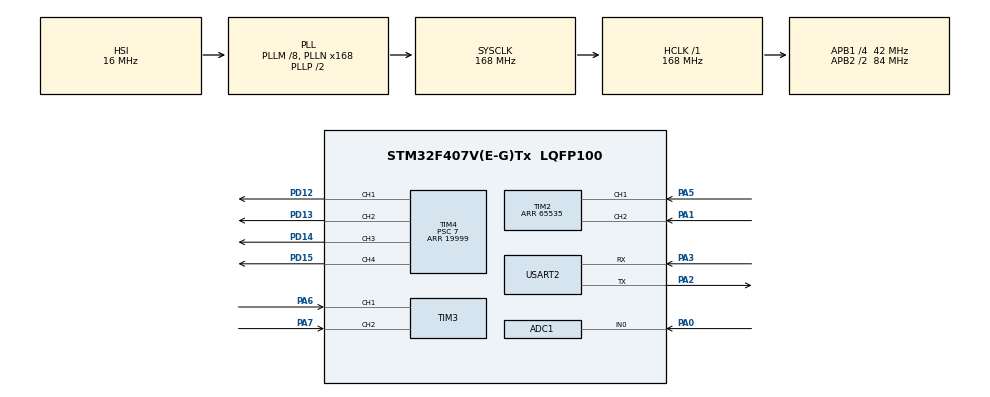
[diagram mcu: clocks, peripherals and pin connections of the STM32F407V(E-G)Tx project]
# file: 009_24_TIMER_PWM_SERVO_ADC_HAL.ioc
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ADC1.Channel-0\#ChannelRegularConversion=ADC_CHANNEL_0
ADC1.ContinuousConvMode=ENABLE
ADC1.DMAContinuousRequests=DISABLE
ADC1.NbrOfConversionFlag=1
ADC1.Rank-0\#ChannelRegularConversion=1
ADC1.SamplingTime-0\#ChannelRegularConversion=ADC_SAMPLETIME_3CYCLES
ADC1.master=1
Mcu.Family=STM32F4
Mcu.Name=STM32F407V(E-G)Tx
Mcu.Package=LQFP100
NVIC.PriorityGroup=NVIC_PRIORITYGROUP_4
PA0-WKUP.Signal=ADCx_IN0
PA1.Signal=S_TIM2_CH2
PA2.Mode=Asynchronous
PA2.Signal=USART2_TX
PA3.Mode=Asynchronous
PA3.Signal=USART2_RX
PA5.Signal=S_TIM2_CH1_ETR
PA6.Signal=S_TIM3_CH1
PA7.Signal=S_TIM3_CH2
PD12.Signal=S_TIM4_CH1
PD13.Signal=S_TIM4_CH2
PD14.Signal=S_TIM4_CH3
PD15.Signal=S_TIM4_CH4
ProjectManager.HeapSize=0x200
ProjectManager.StackSize=0x400
ProjectManager.TargetToolchain=TrueSTUDIO
RCC.48MHZClocksFreq_Value=84000000
RCC.AHBFreq_Value=168000000
RCC.APB1CLKDivider=RCC_HCLK_DIV4
RCC.APB1Freq_Value=42000000
RCC.APB1TimFreq_Value=84000000
RCC.APB2CLKDivider=RCC_HCLK_DIV2
RCC.APB2Freq_Value=84000000
RCC.APB2TimFreq_Value=168000000
RCC.CortexFreq_Value=168000000
RCC.HCLKFreq_Value=168000000
RCC.HSE_VALUE=25000000
RCC.HSI_VALUE=16000000
RCC.LSE_VALUE=32768
RCC.PLLM=8
RCC.PLLN=168
RCC.SYSCLKFreq_VALUE=168000000
RCC.SYSCLKSource=RCC_SYSCLKSOURCE_PLLCLK
RCC.VCOOutputFreq_Value=336000000
SH.ADCx_IN0.0=ADC1_IN0,IN0
SH.S_TIM2_CH1_ETR.0=TIM2_CH1,Encoder_Interface
SH.S_TIM2_CH2.0=TIM2_CH2,Encoder_Interface
SH.S_TIM3_CH1.0=TIM3_CH1,Encoder_Interface
SH.S_TIM3_CH2.0=TIM3_CH2,Encoder_Interface
SH.S_TIM4_CH1.0=TIM4_CH1,PWM Generation1 CH1
SH.S_TIM4_CH2.0=TIM4_CH2,PWM Generation2 CH2
SH.S_TIM4_CH3.0=TIM4_CH3,PWM Generation3 CH3
SH.S_TIM4_CH4.0=TIM4_CH4,PWM Generation4 CH4
TIM2.EncoderMode=TIM_ENCODERMODE_TI12
TIM2.Period=65535
TIM3.EncoderMode=TIM_ENCODERMODE_TI12
TIM4.Channel-PWM\ Generation1\ CH1=TIM_CHANNEL_1
TIM4.Channel-PWM\ Generation2\ CH2=TIM_CHANNEL_2
TIM4.Channel-PWM\ Generation3\ CH3=TIM_CHANNEL_3
TIM4.Channel-PWM\ Generation4\ CH4=TIM_CHANNEL_4
TIM4.Period=19999
TIM4.Prescaler=7
USART2.VirtualMode=VM_ASYNC
board=custom

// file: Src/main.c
/* USER CODE BEGIN Header */
/**
  ******************************************************************************
  * @file           : main.c
  * @brief          : Main program body
  ******************************************************************************
  * @attention
  *
  * Copyright (c) 2022 STMicroelectronics.
  * All rights reserved.
  *
  * This software is licensed under terms that can be found in the LICENSE file
  * in the root directory of this software component.
  * If no LICENSE file comes with this software, it is provided AS-IS.
  *
  ******************************************************************************
  */
/* USER CODE END Header */
#include "main.h"

ADC_HandleTypeDef hadc1;

TIM_HandleTypeDef htim2;
TIM_HandleTypeDef htim3;
TIM_HandleTypeDef htim4;

UART_HandleTypeDef huart2;

void SystemClock_Config(void);
static void MX_GPIO_Init(void);
static void MX_ADC1_Init(void);
static void MX_TIM4_Init(void);
static void MX_TIM2_Init(void);
static void MX_TIM3_Init(void);
static void MX_USART2_UART_Init(void);

/* USER CODE BEGIN 0 */

uint16_t adcValue;
uint32_t pulse;

uint32_t map(long A,long B,long C,long D,long E){

	return ((A*E)/C);
}

void READ_Adc(){

	HAL_ADC_Start(&hadc1);

	if(HAL_ADC_PollForConversion(&hadc1,100000)== HAL_OK){
		adcValue= HAL_ADC_GetValue(&hadc1);

	}
	HAL_ADC_Stop(&hadc1);
}

/* USER CODE END 0 */

int main(void)
{

  /* MCU Configuration--------------------------------------------------------*/

  /* Reset of all peripherals, Initializes the Flash interface and the Systick. */
  HAL_Init();

  /* Configure the system clock */
  SystemClock_Config();

  /* Initialize all configured peripherals */
  MX_GPIO_Init();
  MX_ADC1_Init();
  MX_TIM4_Init();
  MX_TIM2_Init();
  MX_TIM3_Init();
  MX_USART2_UART_Init();
  /* USER CODE BEGIN 2 */

  HAL_TIM_PWM_Start(&htim4, TIM_CHANNEL_1);
  HAL_TIM_PWM_Start(&htim4, TIM_CHANNEL_2);
  HAL_TIM_PWM_Start(&htim4, TIM_CHANNEL_3);
  HAL_TIM_PWM_Start(&htim4, TIM_CHANNEL_4);

  /* USER CODE END 2 */

  /* Infinite loop */
  while (1)
  {

    /* USER CODE BEGIN 3 */
	  READ_Adc();
	  pulse=map(adcValue,0,4095,0,19999);
	  __HAL_TIM_SetCompare(&htim4,TIM_CHANNEL_1,pulse);
	  __HAL_TIM_SetCompare(&htim4,TIM_CHANNEL_2,pulse);
	  __HAL_TIM_SetCompare(&htim4,TIM_CHANNEL_3,pulse);
	  __HAL_TIM_SetCompare(&htim4,TIM_CHANNEL_4,pulse);

  }
  /* USER CODE END 3 */
}

void SystemClock_Config(void)
{
  RCC_OscInitTypeDef RCC_OscInitStruct = {0};
  RCC_ClkInitTypeDef RCC_ClkInitStruct = {0};

  /** Configure the main internal regulator output voltage
  */
  __HAL_RCC_PWR_CLK_ENABLE();
  __HAL_PWR_VOLTAGESCALING_CONFIG(PWR_REGULATOR_VOLTAGE_SCALE1);
  /** Initializes the RCC Oscillators according to the specified parameters
  * in the RCC_OscInitTypeDef structure.
  */
  RCC_OscInitStruct.OscillatorType = RCC_OSCILLATORTYPE_HSI;
  RCC_OscInitStruct.HSIState = RCC_HSI_ON;
  RCC_OscInitStruct.HSICalibrationValue = RCC_HSICALIBRATION_DEFAULT;
  RCC_OscInitStruct.PLL.PLLState = RCC_PLL_ON;
  RCC_OscInitStruct.PLL.PLLSource = RCC_PLLSOURCE_HSI;
  RCC_OscInitStruct.PLL.PLLM = 8;
  RCC_OscInitStruct.PLL.PLLN = 168;
  RCC_OscInitStruct.PLL.PLLP = RCC_PLLP_DIV2;
  RCC_OscInitStruct.PLL.PLLQ = 4;
  if (HAL_RCC_OscConfig(&RCC_OscInitStruct) != HAL_OK)
  {
    Error_Handler();
  }
  /** Initializes the CPU, AHB and APB buses clocks
  */
  RCC_ClkInitStruct.ClockType = RCC_CLOCKTYPE_HCLK|RCC_CLOCKTYPE_SYSCLK
                              |RCC_CLOCKTYPE_PCLK1|RCC_CLOCKTYPE_PCLK2;
  RCC_ClkInitStruct.SYSCLKSource = RCC_SYSCLKSOURCE_PLLCLK;
  RCC_ClkInitStruct.AHBCLKDivider = RCC_SYSCLK_DIV1;
  RCC_ClkInitStruct.APB1CLKDivider = RCC_HCLK_DIV4;
  RCC_ClkInitStruct.APB2CLKDivider = RCC_HCLK_DIV2;

  if (HAL_RCC_ClockConfig(&RCC_ClkInitStruct, FLASH_LATENCY_5) != HAL_OK)
  {
    Error_Handler();
  }
}

static void MX_ADC1_Init(void)
{

  ADC_ChannelConfTypeDef sConfig = {0};

  /** Configure the global features of the ADC (Clock, Resolution, Data Alignment and number of conversion)
  */
  hadc1.Instance = ADC1;
  hadc1.Init.ClockPrescaler = ADC_CLOCK_SYNC_PCLK_DIV4;
  hadc1.Init.Resolution = ADC_RESOLUTION_12B;
  hadc1.Init.ScanConvMode = DISABLE;
  hadc1.Init.ContinuousConvMode = ENABLE;
  hadc1.Init.DiscontinuousConvMode = DISABLE;
  hadc1.Init.ExternalTrigConvEdge = ADC_EXTERNALTRIGCONVEDGE_NONE;
  hadc1.Init.ExternalTrigConv = ADC_SOFTWARE_START;
  hadc1.Init.DataAlign = ADC_DATAALIGN_RIGHT;
  hadc1.Init.NbrOfConversion = 1;
  hadc1.Init.DMAContinuousRequests = DISABLE;
  hadc1.Init.EOCSelection = ADC_EOC_SINGLE_CONV;
  if (HAL_ADC_Init(&hadc1) != HAL_OK)
  {
    Error_Handler();
  }
  /** Configure for the selected ADC regular channel its corresponding rank in the sequencer and its sample time.
  */
  sConfig.Channel = ADC_CHANNEL_0;
  sConfig.Rank = 1;
  sConfig.SamplingTime = ADC_SAMPLETIME_3CYCLES;
  if (HAL_ADC_ConfigChannel(&hadc1, &sConfig) != HAL_OK)
  {
    Error_Handler();
  }

}

static void MX_TIM2_Init(void)
{

  TIM_Encoder_InitTypeDef sConfig = {0};
  TIM_MasterConfigTypeDef sMasterConfig = {0};

  htim2.Instance = TIM2;
  htim2.Init.Prescaler = 0;
  htim2.Init.CounterMode = TIM_COUNTERMODE_UP;
  htim2.Init.Period = 65535;
  htim2.Init.ClockDivision = TIM_CLOCKDIVISION_DIV1;
  htim2.Init.AutoReloadPreload = TIM_AUTORELOAD_PRELOAD_DISABLE;
  sConfig.EncoderMode = TIM_ENCODERMODE_TI12;
  sConfig.IC1Polarity = TIM_ICPOLARITY_RISING;
  sConfig.IC1Selection = TIM_ICSELECTION_DIRECTTI;
  sConfig.IC1Prescaler = TIM_ICPSC_DIV1;
  sConfig.IC1Filter = 0;
  sConfig.IC2Polarity = TIM_ICPOLARITY_RISING;
  sConfig.IC2Selection = TIM_ICSELECTION_DIRECTTI;
  sConfig.IC2Prescaler = TIM_ICPSC_DIV1;
  sConfig.IC2Filter = 0;
  if (HAL_TIM_Encoder_Init(&htim2, &sConfig) != HAL_OK)
  {
    Error_Handler();
  }
  sMasterConfig.MasterOutputTrigger = TIM_TRGO_RESET;
  sMasterConfig.MasterSlaveMode = TIM_MASTERSLAVEMODE_DISABLE;
  if (HAL_TIMEx_MasterConfigSynchronization(&htim2, &sMasterConfig) != HAL_OK)
  {
    Error_Handler();
  }

}

static void MX_TIM3_Init(void)
{

  TIM_Encoder_InitTypeDef sConfig = {0};
  TIM_MasterConfigTypeDef sMasterConfig = {0};

  htim3.Instance = TIM3;
  htim3.Init.Prescaler = 0;
  htim3.Init.CounterMode = TIM_COUNTERMODE_UP;
  htim3.Init.Period = 65535;
  htim3.Init.ClockDivision = TIM_CLOCKDIVISION_DIV1;
  htim3.Init.AutoReloadPreload = TIM_AUTORELOAD_PRELOAD_DISABLE;
  sConfig.EncoderMode = TIM_ENCODERMODE_TI12;
  sConfig.IC1Polarity = TIM_ICPOLARITY_RISING;
  sConfig.IC1Selection = TIM_ICSELECTION_DIRECTTI;
  sConfig.IC1Prescaler = TIM_ICPSC_DIV1;
  sConfig.IC1Filter = 0;
  sConfig.IC2Polarity = TIM_ICPOLARITY_RISING;
  sConfig.IC2Selection = TIM_ICSELECTION_DIRECTTI;
  sConfig.IC2Prescaler = TIM_ICPSC_DIV1;
  sConfig.IC2Filter = 0;
  if (HAL_TIM_Encoder_Init(&htim3, &sConfig) != HAL_OK)
  {
    Error_Handler();
  }
  sMasterConfig.MasterOutputTrigger = TIM_TRGO_RESET;
  sMasterConfig.MasterSlaveMode = TIM_MASTERSLAVEMODE_DISABLE;
  if (HAL_TIMEx_MasterConfigSynchronization(&htim3, &sMasterConfig) != HAL_OK)
  {
    Error_Handler();
  }

}

static void MX_TIM4_Init(void)
{

  TIM_MasterConfigTypeDef sMasterConfig = {0};
  TIM_OC_InitTypeDef sConfigOC = {0};

  htim4.Instance = TIM4;
  htim4.Init.Prescaler = 7;
  htim4.Init.CounterMode = TIM_COUNTERMODE_UP;
  htim4.Init.Period = 19999;
  htim4.Init.ClockDivision = TIM_CLOCKDIVISION_DIV1;
  htim4.Init.AutoReloadPreload = TIM_AUTORELOAD_PRELOAD_DISABLE;
  if (HAL_TIM_PWM_Init(&htim4) != HAL_OK)
  {
    Error_Handler();
  }
  sMasterConfig.MasterOutputTrigger = TIM_TRGO_RESET;
  sMasterConfig.MasterSlaveMode = TIM_MASTERSLAVEMODE_DISABLE;
  if (HAL_TIMEx_MasterConfigSynchronization(&htim4, &sMasterConfig) != HAL_OK)
  {
    Error_Handler();
  }
  sConfigOC.OCMode = TIM_OCMODE_PWM1;
  sConfigOC.Pulse = 0;
  sConfigOC.OCPolarity = TIM_OCPOLARITY_HIGH;
  sConfigOC.OCFastMode = TIM_OCFAST_DISABLE;
  if (HAL_TIM_PWM_ConfigChannel(&htim4, &sConfigOC, TIM_CHANNEL_1) != HAL_OK)
  {
    Error_Handler();
  }
  if (HAL_TIM_PWM_ConfigChannel(&htim4, &sConfigOC, TIM_CHANNEL_2) != HAL_OK)
  {
    Error_Handler();
  }
  if (HAL_TIM_PWM_ConfigChannel(&htim4, &sConfigOC, TIM_CHANNEL_3) != HAL_OK)
  {
    Error_Handler();
  }
  if (HAL_TIM_PWM_ConfigChannel(&htim4, &sConfigOC, TIM_CHANNEL_4) != HAL_OK)
  {
    Error_Handler();
  }
  HAL_TIM_MspPostInit(&htim4);

}

static void MX_USART2_UART_Init(void)
{

  huart2.Instance = USART2;
  huart2.Init.BaudRate = 115200;
  huart2.Init.WordLength = UART_WORDLENGTH_8B;
  huart2.Init.StopBits = UART_STOPBITS_1;
  huart2.Init.Parity = UART_PARITY_NONE;
  huart2.Init.Mode = UART_MODE_TX_RX;
  huart2.Init.HwFlowCtl = UART_HWCONTROL_NONE;
  huart2.Init.OverSampling = UART_OVERSAMPLING_16;
  if (HAL_UART_Init(&huart2) != HAL_OK)
  {
    Error_Handler();
  }

}

static void MX_GPIO_Init(void)
{

  /* GPIO Ports Clock Enable */
  __HAL_RCC_GPIOA_CLK_ENABLE();
  __HAL_RCC_GPIOD_CLK_ENABLE();

}

void Error_Handler(void)
{
  __disable_irq();
  while (1)
  {
  }
}
